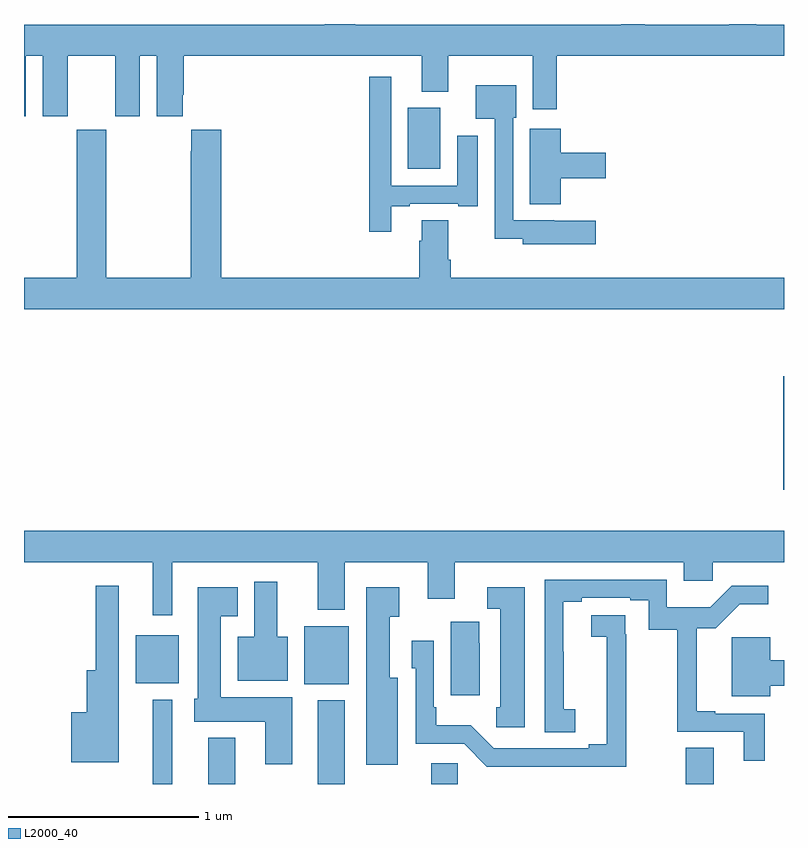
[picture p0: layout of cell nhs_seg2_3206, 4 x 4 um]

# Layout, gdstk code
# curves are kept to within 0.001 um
import gdstk
lib = gdstk.Library(unit=1e-6, precision=1e-09)
def R(c, l, rs):  # rectangles x0, y0, x1, y1
    for r in rs: c.add(gdstk.rectangle(r[:2], r[2:], *l))
def P(c, l, *ps):  # polygons
    for p in ps: c.add(gdstk.Polygon(p, *l))
L2000_40 = (2000, 40)

nhs_seg2_3206 = lib.new_cell('nhs_seg2_3206')
R(nhs_seg2_3206, L2000_40, [(279.677,647.8,279.781,648.244), (279.971,647.8,280.111,648.043), (280.547,647.8,280.687,648.241), (281.144,647.8,281.283,647.91), (282.484,647.8,282.631,647.99), (280.475,648.326,280.708,648.631), (279.587,648.329,279.814,648.583), (282.997,649.349,283,649.946), (281.021,651.038,281.191,651.358)])
P(nhs_seg2_3206, L2000_40, [(279.01,651.632),(279.098,651.632),(279.098,651.315),(279.229,651.315),(279.229,651.632),(279.479,651.632),(279.479,651.315),(279.61,651.315),(279.61,651.632),(279.698,651.632),(279.698,651.315),(279.835,651.315),(279.835,651.427),(279.842,651.427),(279.842,651.632),(281.093,651.632),(281.093,651.443),(281.233,651.443),(281.233,651.632),(281.678,651.632),(281.678,651.351),(281.804,651.351),(281.804,651.632),(283,651.632),(283,651.796),(282.853,651.796),(282.853,651.8),(282.713,651.8),(282.713,651.796),(282.268,651.796),(282.268,651.8),(282.143,651.8),(282.143,651.796),(280.743,651.796),(280.743,651.8),(280.583,651.8),(280.583,651.796),(279,651.796),(279,651.315),(279.01,651.315)],
  [(280.933,650.841),(281.029,650.841),(281.029,650.853),(281.285,650.853),(281.285,650.841),(281.389,650.841),(281.389,651.211),(281.279,651.211),(281.279,650.949),(280.932,650.949),(280.932,651.523),(280.816,651.523),(280.816,650.706),(280.933,650.706)],
  [(282.01,650.764),(281.79,650.764),(281.79,650.766),(281.574,650.766),(281.574,651.306),(281.59,651.306),(281.59,651.478),(281.378,651.478),(281.378,651.302),(281.478,651.302),(281.478,650.669),(281.625,650.669),(281.625,650.642),(282.01,650.642)],
  [(281.825,650.987),(282.061,650.987),(282.061,651.122),(281.825,651.122),(281.825,651.25),(281.663,651.25),(281.663,650.851),(281.825,650.851)],
  [(283,650.464),(281.246,650.464),(281.246,650.56),(281.233,650.56),(281.233,650.768),(281.093,650.768),(281.093,650.66),(281.081,650.66),(281.081,650.464),(280.037,650.464),(280.037,651.244),(279.881,651.244),(279.881,651.131),(279.877,651.131),(279.877,650.464),(279.432,650.464),(279.432,651.244),(279.277,651.244),(279.277,650.464),(279,650.464),(279,650.3),(283,650.3)],
  [(279.781,648.968),(280.547,648.968),(280.547,648.716),(280.687,648.716),(280.687,648.968),(281.126,648.968),(281.126,648.774),(281.266,648.774),(281.266,648.968),(282.473,648.968),(282.473,648.87),(282.625,648.87),(282.625,648.968),(283,648.968),(283,649.132),(279,649.132),(279,648.968),(279.677,648.968),(279.677,648.687),(279.781,648.687)],
  [(282.898,648.171),(282.637,648.171),(282.637,648.184),(282.542,648.184),(282.542,648.621),(282.641,648.621),(282.767,648.746),(282.916,648.746),(282.916,648.843),(282.726,648.843),(282.613,648.73),(282.384,648.73),(282.384,648.876),(281.742,648.876),(281.742,648.073),(281.902,648.073),(281.902,648.193),(281.841,648.193),(281.841,648.497),(281.839,648.497),(281.839,648.76),(281.935,648.76),(281.935,648.78),(282.191,648.78),(282.191,648.766),(282.288,648.766),(282.288,648.613),(282.439,648.613),(282.439,648.075),(282.788,648.075),(282.788,647.922),(282.898,647.922)],
  [(280.387,648.574),(280.333,648.574),(280.333,648.865),(280.211,648.865),(280.211,648.574),(280.124,648.574),(280.124,648.344),(280.387,648.344)],
  [(279.499,648.844),(279.378,648.844),(279.378,648.4),(279.329,648.4),(279.329,648.178),(279.248,648.178),(279.248,647.915),(279.499,647.915)],
  [(281.635,648.835),(281.439,648.835),(281.439,648.723),(281.507,648.723),(281.507,648.204),(281.485,648.204),(281.485,648.099),(281.635,648.099)],
  [(280.966,648.358),(280.924,648.358),(280.924,648.679),(280.975,648.679),(280.975,648.835),(280.802,648.835),(280.802,647.901),(280.966,647.901)],
  [(280.411,648.256),(280.036,648.256),(280.036,648.683),(280.126,648.683),(280.126,648.835),(279.914,648.835),(279.914,648.249),(279.896,648.249),(279.896,648.128),(280.271,648.128),(280.271,647.904),(280.411,647.904)],
  [(282.17,648.587),(282.164,648.587),(282.164,648.689),(281.985,648.689),(281.985,648.574),(282.067,648.574),(282.068,648.008),(281.972,648.008),(281.972,647.988),(281.472,647.988),(281.351,648.109),(281.17,648.109),(281.17,648.205),(281.157,648.205),(281.157,648.553),(281.04,648.553),(281.04,648.408),(281.061,648.408),(281.061,648.012),(281.316,648.012),(281.436,647.892),(282.17,647.892)],
  [(281.398,648.542),(281.395,648.542),(281.395,648.655),(281.246,648.655),(281.246,648.266),(281.398,648.266)],
  [(282.928,648.316),(283,648.316),(283,648.452),(282.928,648.452),(282.928,648.573),(282.725,648.573),(282.725,648.263),(282.928,648.263)])

lib.write_gds('nhs_seg2_3206.gds')
